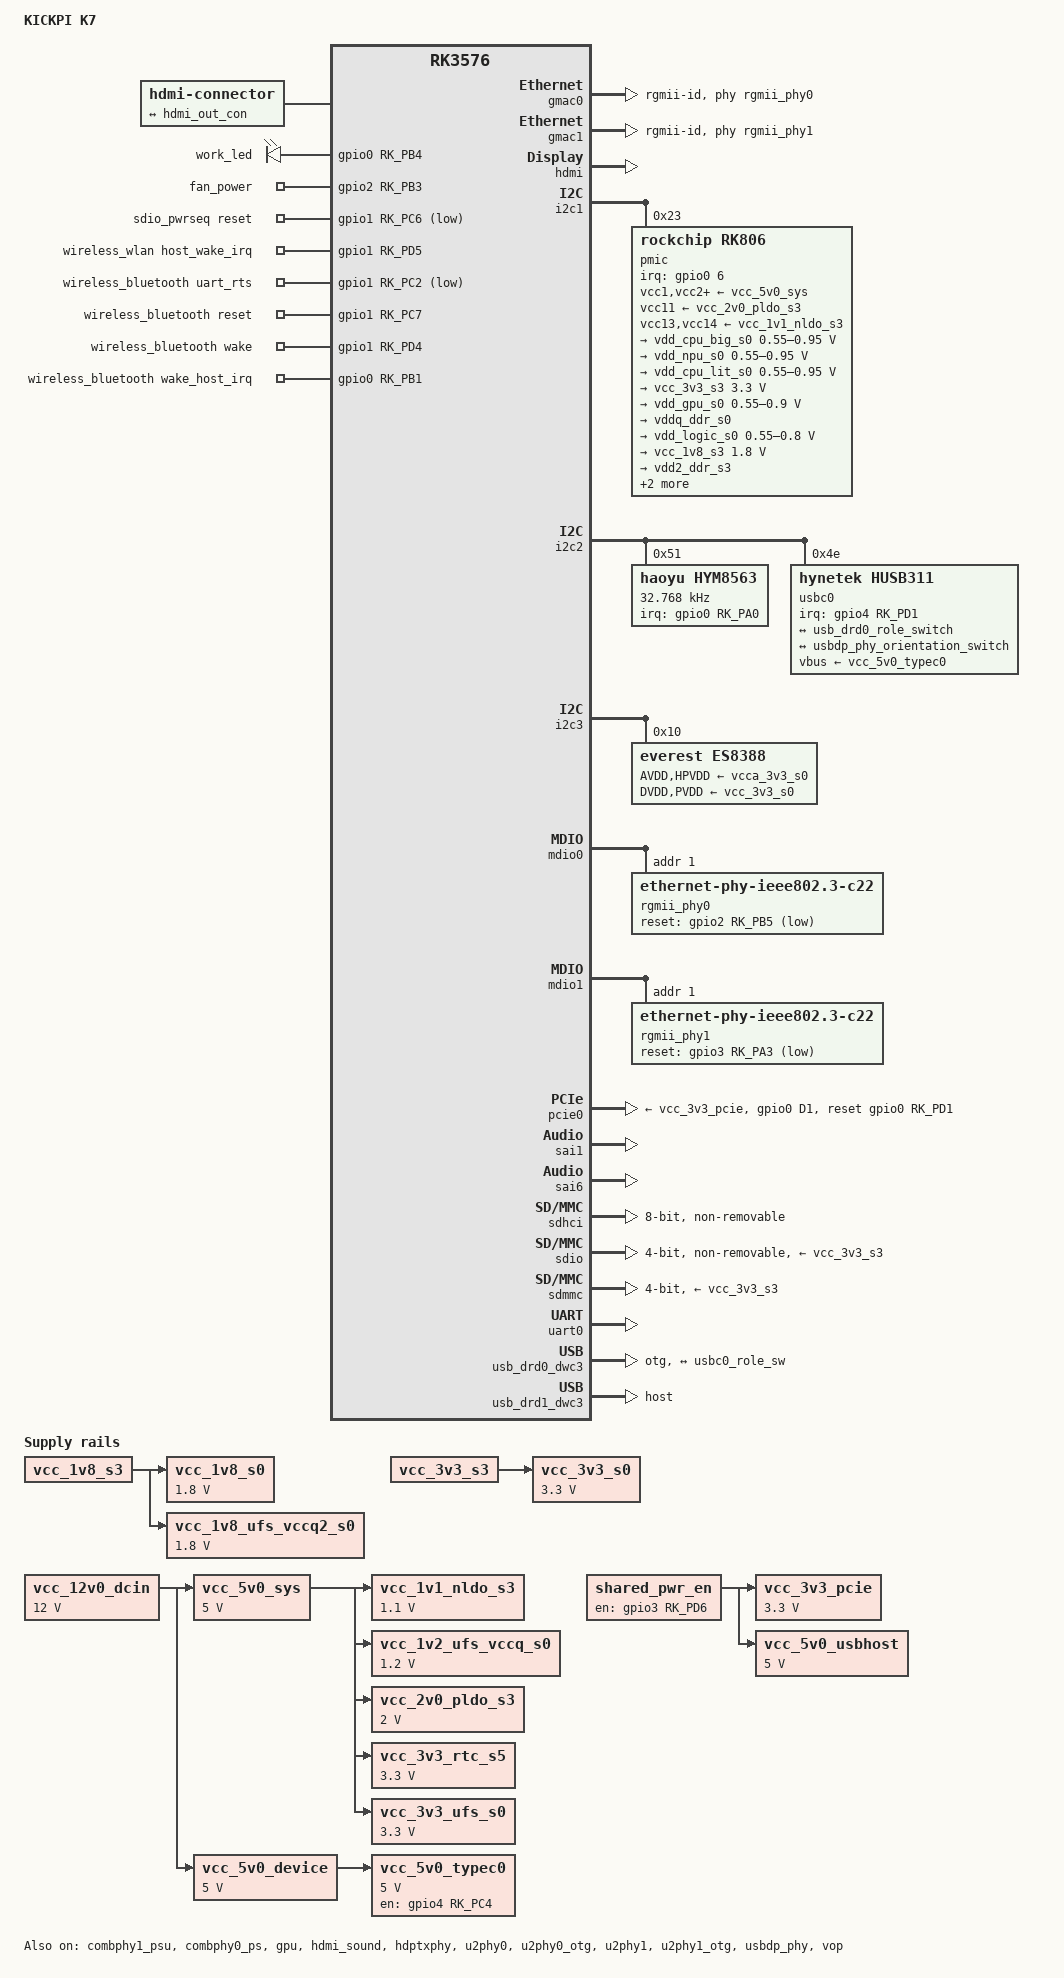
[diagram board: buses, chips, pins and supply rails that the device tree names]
// SPDX-License-Identifier: (GPL-2.0+ OR MIT)
/*
 * Copyright (c) 2024 Rockchip Electronics Co., Ltd.
 *
 */

/dts-v1/;

#include <dt-bindings/gpio/gpio.h>
#include <dt-bindings/leds/common.h>
#include <dt-bindings/pinctrl/rockchip.h>
#include <dt-bindings/pwm/pwm.h>
#include <dt-bindings/soc/rockchip,vop2.h>
#include <dt-bindings/usb/pd.h>
#include "rk3576.dtsi"

/ {
	model = "KICKPI K7";
	compatible = "kickpi,k7", "rockchip,rk3576";

	aliases {
		ethernet0 = &gmac0;
		ethernet1 = &gmac1;
	};

	chosen {
		stdout-path = "serial0:1500000n8";
	};

	hdmi-con {
		compatible = "hdmi-connector";
		type = "a";

		port {
			hdmi_con_in: endpoint {
				remote-endpoint = <&hdmi_out_con>;
			};
		};
	};

	leds: leds {
		compatible = "gpio-leds";
		work_led: work {
			gpios = <&gpio0 RK_PB4 GPIO_ACTIVE_HIGH>;
			linux,default-trigger = "heartbeat";
		};

		fan_power: fan {
			gpios = <&gpio2 RK_PB3 GPIO_ACTIVE_HIGH>;
			default-state = "on";
		};
	};

	es8388_sound: es8388-sound {
		compatible = "simple-audio-card";
		simple-audio-card,format = "i2s";
		simple-audio-card,mclk-fs = <256>;
		simple-audio-card,name = "On-board Analog ES8388";
		simple-audio-card,widgets = "Microphone", "Headphone Mic",
					    "Microphone", "Mic Pads",
					    "Headphone", "Headphone",
					    "Line Out", "Line Out";
		simple-audio-card,routing = "Headphone", "LOUT1",
					    "Headphone", "ROUT1",
					    "Line Out", "LOUT2",
					    "Line Out", "ROUT2",
					    "RINPUT1", "Headphone Mic",
					    "LINPUT2", "Mic Pads",
					    "RINPUT2", "Mic Pads";
		simple-audio-card,pin-switches = "Headphone", "Line Out";

		simple-audio-card,cpu {
			sound-dai = <&sai1>;
		};

		simple-audio-card,codec {
			sound-dai = <&es8388>;
			system-clock-frequency = <12288000>;
		};
	};

	vcc_12v0_dcin: regulator-vcc-12v0-dcin {
		compatible = "regulator-fixed";
		regulator-name = "vcc_12v0_dcin";
		regulator-always-on;
		regulator-boot-on;
		regulator-min-microvolt = <12000000>;
		regulator-max-microvolt = <12000000>;
	};

	vcc_1v1_nldo_s3: regulator-vcc-1v1-nldo-s3 {
		compatible = "regulator-fixed";
		regulator-name = "vcc_1v1_nldo_s3";
		regulator-boot-on;
		regulator-always-on;
		regulator-min-microvolt = <1100000>;
		regulator-max-microvolt = <1100000>;
		vin-supply = <&vcc_5v0_sys>;
	};

	vcc_1v2_ufs_vccq_s0: regulator-vcc-1v2-ufs-vccq-s0 {
		compatible = "regulator-fixed";
		regulator-name = "vcc_1v2_ufs_vccq_s0";
		regulator-boot-on;
		regulator-always-on;
		regulator-min-microvolt = <1200000>;
		regulator-max-microvolt = <1200000>;
		vin-supply = <&vcc_5v0_sys>;
	};

	vcc_1v8_s0: regulator-vcc-1v8-s0 {
		compatible = "regulator-fixed";
		regulator-name = "vcc_1v8_s0";
		regulator-boot-on;
		regulator-always-on;
		regulator-min-microvolt = <1800000>;
		regulator-max-microvolt = <1800000>;
		vin-supply = <&vcc_1v8_s3>;
	};

	vcc_1v8_ufs_vccq2_s0: regulator-vcc-1v8-ufs-vccq2-s0 {
		compatible = "regulator-fixed";
		regulator-name = "vcc_1v8_ufs_vccq2_s0";
		regulator-boot-on;
		regulator-always-on;
		regulator-min-microvolt = <1800000>;
		regulator-max-microvolt = <1800000>;
		vin-supply = <&vcc_1v8_s3>;
	};

	vcc_2v0_pldo_s3: regulator-vcc-2v0-pldo-s3 {
		compatible = "regulator-fixed";
		regulator-name = "vcc_2v0_pldo_s3";
		regulator-boot-on;
		regulator-always-on;
		regulator-min-microvolt = <2000000>;
		regulator-max-microvolt = <2000000>;
		vin-supply = <&vcc_5v0_sys>;
	};

	vcc_3v3_pcie: regulator-vcc-3v3-pcie {
		compatible = "regulator-fixed";
		regulator-name = "vcc_3v3_pcie";
		regulator-min-microvolt = <3300000>;
		regulator-max-microvolt = <3300000>;
		regulator-always-on;
		regulator-boot-on;
		startup-delay-us = <10000>;
		vin-supply = <&shared_pwr_en>;
	};

	vcc_3v3_rtc_s5: regulator-vcc-3v3-rtc-s5 {
		compatible = "regulator-fixed";
		regulator-name = "vcc_3v3_rtc_s5";
		regulator-boot-on;
		regulator-always-on;
		regulator-min-microvolt = <3300000>;
		regulator-max-microvolt = <3300000>;
		vin-supply = <&vcc_5v0_sys>;
	};

	vcc_3v3_s0: regulator-vcc-3v3-s0 {
		compatible = "regulator-fixed";
		regulator-name = "vcc_3v3_s0";
		regulator-boot-on;
		regulator-always-on;
		regulator-min-microvolt = <3300000>;
		regulator-max-microvolt = <3300000>;
		vin-supply = <&vcc_3v3_s3>;
	};

	vcc_5v0_sys: regulator-vcc-5v0-sys {
		compatible = "regulator-fixed";
		regulator-name = "vcc_5v0_sys";
		regulator-always-on;
		regulator-boot-on;
		regulator-min-microvolt = <5000000>;
		regulator-max-microvolt = <5000000>;
		vin-supply = <&vcc_12v0_dcin>;
	};

	vcc_5v0_device: regulator-vcc-5v0-device {
		compatible = "regulator-fixed";
		regulator-name = "vcc_5v0_device";
		regulator-always-on;
		regulator-boot-on;
		regulator-min-microvolt = <5000000>;
		regulator-max-microvolt = <5000000>;
		vin-supply = <&vcc_12v0_dcin>;
	};

	vcc_5v0_typec0: regulator-vcc-5v0-typec0 {
		compatible = "regulator-fixed";
		enable-active-high;
		gpios = <&gpio4 RK_PC4 GPIO_ACTIVE_HIGH>;
		pinctrl-names = "default";
		pinctrl-0 = <&usb_type_pwren>;
		regulator-name = "vcc_5v0_typec0";
		regulator-min-microvolt = <5000000>;
		regulator-max-microvolt = <5000000>;
		vin-supply = <&vcc_5v0_device>;
	};

	vcc_5v0_usbhost: regulator-vcc-5v0-usbhost {
		compatible = "regulator-fixed";
		regulator-name = "vcc_5v0_usbhost";
		regulator-min-microvolt = <5000000>;
		regulator-max-microvolt = <5000000>;
		regulator-always-on;
		regulator-boot-on;
		vin-supply = <&shared_pwr_en>;
	};
	
	shared_pwr_en: regulator-shared-pwr-en {
		compatible = "regulator-fixed";
		regulator-name = "shared_pwr_en";
		pinctrl-names = "default";
		pinctrl-0 = <&usb_host_pwren>;
		enable-active-high;
		gpios = <&gpio3 RK_PD6 GPIO_ACTIVE_HIGH>;
		regulator-always-on;
		regulator-boot-on;
	};

	vcc_3v3_ufs_s0: regulator-vcc-ufs-s0 {
		compatible = "regulator-fixed";
		regulator-name = "vcc_3v3_ufs_s0";
		regulator-boot-on;
		regulator-always-on;
		regulator-min-microvolt = <3300000>;
		regulator-max-microvolt = <3300000>;
		vin-supply = <&vcc_5v0_sys>;
	};

	sdio_pwrseq: sdio-pwrseq {
		compatible = "mmc-pwrseq-simple";
		clocks = <&hym8563>;
		clock-names = "ext_clock";
		pinctrl-names = "default";
		pinctrl-0 = <&wifi_poweren_gpio>;
		reset-gpios = <&gpio1 RK_PC6 GPIO_ACTIVE_LOW>;
	};

	wireless_wlan: wireless-wlan {
		compatible = "wlan-platdata";
		wifi_chip_type = "swt6621";
        clocks = <&hym8563>;
		clock-names = "ext_clock";
		pinctrl-names = "default";
		pinctrl-0 = <&wifi_host_wake_irq>;
		WIFI,host_wake_irq = <&gpio1 RK_PD5 GPIO_ACTIVE_HIGH>;
		status = "okay";
	};

	wireless_bluetooth: wireless-bluetooth {
		compatible = "bluetooth-platdata";
		uart_rts_gpios = <&gpio1 RK_PC2 GPIO_ACTIVE_LOW>;
		pinctrl-names = "default", "rts_gpio";
		pinctrl-0 = <&uart4m1_rtsn>;
		pinctrl-1 = <&uart4_gpios>;
		BT,reset_gpio    = <&gpio1 RK_PC7 GPIO_ACTIVE_HIGH>;
		BT,wake_gpio     = <&gpio1 RK_PD4 GPIO_ACTIVE_HIGH>;
		BT,wake_host_irq = <&gpio0 RK_PB1 GPIO_ACTIVE_HIGH>;
		status = "okay";
	};
};

&combphy1_psu {
	status = "okay";
};

&combphy0_ps {
	status = "okay";
};

&cpu_b0 {
	cpu-supply = <&vdd_cpu_big_s0>;
};

&cpu_b1 {
	cpu-supply = <&vdd_cpu_big_s0>;
};

&cpu_b2 {
	cpu-supply = <&vdd_cpu_big_s0>;
};

&cpu_b3 {
	cpu-supply = <&vdd_cpu_big_s0>;
};

&cpu_l0 {
	cpu-supply = <&vdd_cpu_lit_s0>;
};

&cpu_l1 {
	cpu-supply = <&vdd_cpu_lit_s0>;
};

&cpu_l2 {
	cpu-supply = <&vdd_cpu_lit_s0>;
};

&cpu_l3 {
	cpu-supply = <&vdd_cpu_lit_s0>;
};

&gmac0 {
	phy-mode = "rgmii-id";
	clock_in_out = "output";
	phy-handle = <&rgmii_phy0>;
	pinctrl-names = "default";
	pinctrl-0 = <&eth0m0_miim
		     &eth0m0_tx_bus2
		     &eth0m0_rx_bus2
		     &eth0m0_rgmii_clk
		     &eth0m0_rgmii_bus>;
	status = "okay";
};

&gmac1 {
	phy-mode = "rgmii-id";
	clock_in_out = "output";
	phy-handle = <&rgmii_phy1>;
	pinctrl-names = "default";
	pinctrl-0 = <&eth1m0_miim
		     &eth1m0_tx_bus2
		     &eth1m0_rx_bus2
		     &eth1m0_rgmii_clk
		     &eth1m0_rgmii_bus
		     &ethm0_clk1_25m_out>;
	status = "okay";
};

&gpu {
	mali-supply = <&vdd_gpu_s0>;
	status = "okay";
};

&hdmi {
	status = "okay";
};

&hdmi_in {
	hdmi_in_vp0: endpoint {
		remote-endpoint = <&vp0_out_hdmi>;
	};
};

&hdmi_out {
	hdmi_out_con: endpoint {
		remote-endpoint = <&hdmi_con_in>;
	};
};

&hdmi_sound {
	status = "okay";
};

&hdptxphy {
	status = "okay";
};

&i2c1 {
	status = "okay";

	pmic@23 {
		compatible = "rockchip,rk806";
		reg = <0x23>;

		interrupt-parent = <&gpio0>;
		interrupts = <6 IRQ_TYPE_LEVEL_LOW>;

		pinctrl-names = "default";
		pinctrl-0 = <&pmic_pins>, <&rk806_dvs1_null>,
			    <&rk806_dvs2_null>, <&rk806_dvs3_null>;

		system-power-controller;

		vcc1-supply = <&vcc_5v0_sys>;
		vcc2-supply = <&vcc_5v0_sys>;
		vcc3-supply = <&vcc_5v0_sys>;
		vcc4-supply = <&vcc_5v0_sys>;
		vcc5-supply = <&vcc_5v0_sys>;
		vcc6-supply = <&vcc_5v0_sys>;
		vcc7-supply = <&vcc_5v0_sys>;
		vcc8-supply = <&vcc_5v0_sys>;
		vcc9-supply = <&vcc_5v0_sys>;
		vcc10-supply = <&vcc_5v0_sys>;
		vcc11-supply = <&vcc_2v0_pldo_s3>;
		vcc12-supply = <&vcc_5v0_sys>;
		vcc13-supply = <&vcc_1v1_nldo_s3>;
		vcc14-supply = <&vcc_1v1_nldo_s3>;
		vcca-supply = <&vcc_5v0_sys>;

		gpio-controller;
		#gpio-cells = <2>;

		rk806_dvs1_null: dvs1-null-pins {
			pins = "gpio_pwrctrl1";
			function = "pin_fun0";
		};

		rk806_dvs2_null: dvs2-null-pins {
			pins = "gpio_pwrctrl2";
			function = "pin_fun0";
		};

		rk806_dvs3_null: dvs3-null-pins {
			pins = "gpio_pwrctrl3";
			function = "pin_fun0";
		};

		rk806_dvs1_slp: dvs1-slp-pins {
			pins = "gpio_pwrctrl1";
			function = "pin_fun1";
		};

		rk806_dvs1_pwrdn: dvs1-pwrdn-pins {
			pins = "gpio_pwrctrl1";
			function = "pin_fun2";
		};

		rk806_dvs1_rst: dvs1-rst-pins {
			pins = "gpio_pwrctrl1";
			function = "pin_fun3";
		};

		rk806_dvs2_slp: dvs2-slp-pins {
			pins = "gpio_pwrctrl2";
			function = "pin_fun1";
		};

		rk806_dvs2_pwrdn: dvs2-pwrdn-pins {
			pins = "gpio_pwrctrl2";
			function = "pin_fun2";
		};

		rk806_dvs2_rst: dvs2-rst-pins {
			pins = "gpio_pwrctrl2";
			function = "pin_fun3";
		};

		rk806_dvs2_dvs: dvs2-dvs-pins {
			pins = "gpio_pwrctrl2";
			function = "pin_fun4";
		};

		rk806_dvs2_gpio: dvs2-gpio-pins {
			pins = "gpio_pwrctrl2";
			function = "pin_fun5";
		};

		rk806_dvs3_slp: dvs3-slp-pins {
			pins = "gpio_pwrctrl3";
			function = "pin_fun1";
		};

		rk806_dvs3_pwrdn: dvs3-pwrdn-pins {
			pins = "gpio_pwrctrl3";
			function = "pin_fun2";
		};

		rk806_dvs3_rst: dvs3-rst-pins {
			pins = "gpio_pwrctrl3";
			function = "pin_fun3";
		};

		rk806_dvs3_dvs: dvs3-dvs-pins {
			pins = "gpio_pwrctrl3";
			function = "pin_fun4";
		};

		rk806_dvs3_gpio: dvs3-gpio-pins {
			pins = "gpio_pwrctrl3";
			function = "pin_fun5";
		};

		regulators {
			vdd_cpu_big_s0: dcdc-reg1 {
				regulator-always-on;
				regulator-boot-on;
				regulator-min-microvolt = <550000>;
				regulator-max-microvolt = <950000>;
				regulator-ramp-delay = <12500>;
				regulator-name = "vdd_cpu_big_s0";
				regulator-enable-ramp-delay = <400>;
				regulator-state-mem {
					regulator-off-in-suspend;
				};
			};

			vdd_npu_s0: dcdc-reg2 {
				regulator-boot-on;
				regulator-min-microvolt = <550000>;
				regulator-max-microvolt = <950000>;
				regulator-ramp-delay = <12500>;
				regulator-name = "vdd_npu_s0";
				regulator-enable-ramp-delay = <400>;
				regulator-state-mem {
					regulator-off-in-suspend;
				};
			};

			vdd_cpu_lit_s0: dcdc-reg3 {
				regulator-always-on;
				regulator-boot-on;
				regulator-min-microvolt = <550000>;
				regulator-max-microvolt = <950000>;
				regulator-ramp-delay = <12500>;
				regulator-name = "vdd_cpu_lit_s0";
				regulator-state-mem {
					regulator-off-in-suspend;
					regulator-suspend-microvolt = <750000>;
				};
			};

			vcc_3v3_s3: dcdc-reg4 {
				regulator-always-on;
				regulator-boot-on;
				regulator-min-microvolt = <3300000>;
				regulator-max-microvolt = <3300000>;
				regulator-name = "vcc_3v3_s3";
				regulator-state-mem {
					regulator-on-in-suspend;
					regulator-suspend-microvolt = <3300000>;
				};
			};

			vdd_gpu_s0: dcdc-reg5 {
				regulator-boot-on;
				regulator-min-microvolt = <550000>;
				regulator-max-microvolt = <900000>;
				regulator-ramp-delay = <12500>;
				regulator-name = "vdd_gpu_s0";
				regulator-enable-ramp-delay = <400>;
				regulator-state-mem {
					regulator-off-in-suspend;
					regulator-suspend-microvolt = <850000>;
				};
			};

			vddq_ddr_s0: dcdc-reg6 {
				regulator-always-on;
				regulator-boot-on;
				regulator-name = "vddq_ddr_s0";
				regulator-state-mem {
					regulator-off-in-suspend;
				};
			};

			vdd_logic_s0: dcdc-reg7 {
				regulator-always-on;
				regulator-boot-on;
				regulator-min-microvolt = <550000>;
				regulator-max-microvolt = <800000>;
				regulator-name = "vdd_logic_s0";
				regulator-state-mem {
					regulator-off-in-suspend;
				};
			};

			vcc_1v8_s3: dcdc-reg8 {
				regulator-always-on;
				regulator-boot-on;
				regulator-min-microvolt = <1800000>;
				regulator-max-microvolt = <1800000>;
				regulator-name = "vcc_1v8_s3";
				regulator-state-mem {
					regulator-on-in-suspend;
					regulator-suspend-microvolt = <1800000>;
				};
			};

			vdd2_ddr_s3: dcdc-reg9 {
				regulator-always-on;
				regulator-boot-on;
				regulator-name = "vdd2_ddr_s3";
				regulator-state-mem {
					regulator-on-in-suspend;
				};
			};

			vdd_ddr_s0: dcdc-reg10 {
				regulator-always-on;
				regulator-boot-on;
				regulator-min-microvolt = <550000>;
				regulator-max-microvolt = <1200000>;
				regulator-name = "vdd_ddr_s0";
				regulator-state-mem {
					regulator-off-in-suspend;
				};
			};

			vcca_1v8_s0: pldo-reg1 {
				regulator-always-on;
				regulator-boot-on;
				regulator-min-microvolt = <1800000>;
				regulator-max-microvolt = <1800000>;
				regulator-name = "vcca_1v8_s0";
				regulator-state-mem {
					regulator-off-in-suspend;
				};
			};

			vcca1v8_pldo2_s0: pldo-reg2 {
				regulator-always-on;
				regulator-boot-on;
				regulator-min-microvolt = <1800000>;
				regulator-max-microvolt = <1800000>;
				regulator-name = "vcca1v8_pldo2_s0";
				regulator-state-mem {
					regulator-off-in-suspend;
				};
			};

			vdda_1v2_s0: pldo-reg3 {
				regulator-always-on;
				regulator-boot-on;
				regulator-min-microvolt = <1200000>;
				regulator-max-microvolt = <1200000>;
				regulator-name = "vdda_1v2_s0";
				regulator-state-mem {
					regulator-off-in-suspend;
				};
			};

			vcca_3v3_s0: pldo-reg4 {
				regulator-always-on;
				regulator-boot-on;
				regulator-min-microvolt = <3300000>;
				regulator-max-microvolt = <3300000>;
				regulator-name = "vcca_3v3_s0";
				regulator-state-mem {
					regulator-off-in-suspend;
				};
			};

			vccio_sd_s0: pldo-reg5 {
				regulator-always-on;
				regulator-boot-on;
				regulator-min-microvolt = <1800000>;
				regulator-max-microvolt = <3300000>;
				regulator-name = "vccio_sd_s0";
				regulator-state-mem {
					regulator-off-in-suspend;
				};
			};

			vcca1v8_pldo6_s3: pldo-reg6 {
				regulator-always-on;
				regulator-boot-on;
				regulator-min-microvolt = <1800000>;
				regulator-max-microvolt = <1800000>;
				regulator-name = "vcca1v8_pldo6_s3";
				regulator-state-mem {
					regulator-on-in-suspend;
					regulator-suspend-microvolt = <1800000>;
				};
			};

			vdd_0v75_s3: nldo-reg1 {
				regulator-always-on;
				regulator-boot-on;
				regulator-min-microvolt = <750000>;
				regulator-max-microvolt = <750000>;
				regulator-name = "vdd_0v75_s3";
				regulator-state-mem {
					regulator-on-in-suspend;
					regulator-suspend-microvolt = <750000>;
				};
			};

			vdda_ddr_pll_s0: nldo-reg2 {
				regulator-always-on;
				regulator-boot-on;
				regulator-min-microvolt = <850000>;
				regulator-max-microvolt = <850000>;
				regulator-name = "vdda_ddr_pll_s0";
				regulator-state-mem {
					regulator-off-in-suspend;
				};
			};

			vdda0v75_hdmi_s0: nldo-reg3 {
				regulator-always-on;
				regulator-boot-on;
				regulator-min-microvolt = <837500>;
				regulator-max-microvolt = <837500>;
				regulator-name = "vdda0v75_hdmi_s0";
				regulator-state-mem {
					regulator-off-in-suspend;
				};
			};

			vdda_0v85_s0: nldo-reg4 {
				regulator-always-on;
				regulator-boot-on;
				regulator-min-microvolt = <850000>;
				regulator-max-microvolt = <850000>;
				regulator-name = "vdda_0v85_s0";
				regulator-state-mem {
					regulator-off-in-suspend;
				};
			};

			vdda_0v75_s0: nldo-reg5 {
				regulator-always-on;
				regulator-boot-on;
				regulator-min-microvolt = <750000>;
				regulator-max-microvolt = <750000>;
				regulator-name = "vdda_0v75_s0";
				regulator-state-mem {
					regulator-off-in-suspend;
				};
			};
		};
	};
};

&i2c2 {
	status = "okay";

	hym8563: hym8563@51 {
		compatible = "haoyu,hym8563";
		reg = <0x51>;
		#clock-cells = <0>;
		clock-frequency = <32768>;
		clock-output-names = "hym8563";
		pinctrl-names = "default";
		pinctrl-0 = <&hym8563_int>;
		interrupt-parent = <&gpio0>;
		interrupts = <RK_PA0 IRQ_TYPE_LEVEL_LOW>;
		wakeup-source;
	};

    usbc0: husb311@4e {
		compatible = "hynetek,husb311";
		reg = <0x4e>;
		interrupt-parent = <&gpio4>;
		interrupts = <RK_PD1 IRQ_TYPE_LEVEL_LOW>;
		pinctrl-names = "default";
		pinctrl-0 = <&usbc0_int>;
		vbus-supply = <&vcc_5v0_typec0>;
		disable-dp-alt-mode;
		status = "okay";

		port {
			usbc0_role_sw: endpoint {
				remote-endpoint = <&usb_drd0_role_switch>;
			};
		};

		usb_con: connector {
			compatible = "usb-c-connector";
			label = "USB-C";
			data-role = "dual";
			power-role = "dual";
			op-sink-microwatt = <1000000>;
			sink-pdos =
				<PDO_FIXED(5000, 1000, PDO_FIXED_USB_COMM)>;
			source-pdos =
				<PDO_FIXED(5000, 3000, PDO_FIXED_USB_COMM)>;

			ports {
				#address-cells = <1>;
				#size-cells = <0>;

				port@0 {
					reg = <0>;
					usbc0_orien_sw: endpoint {
						remote-endpoint = <&usbdp_phy_orientation_switch>;
					};
				};
			};
		};
	};
};

&i2c3 {
	status = "okay";

	es8388: audio-codec@10 {
		compatible = "everest,es8388", "everest,es8328";
		reg = <0x10>;
		clocks = <&cru CLK_SAI1_MCLKOUT_TO_IO>;
		AVDD-supply = <&vcca_3v3_s0>;
		DVDD-supply = <&vcc_3v3_s0>;
		HPVDD-supply = <&vcca_3v3_s0>;
		PVDD-supply = <&vcc_3v3_s0>;
		assigned-clocks = <&cru CLK_SAI1_MCLKOUT_TO_IO>;
		assigned-clock-rates = <12288000>;
		#sound-dai-cells = <0>;
		pinctrl-names = "default";
		pinctrl-0 = <&sai1m0_mclk>;
	};
};

&mdio0 {
	rgmii_phy0: phy@1 {
		compatible = "ethernet-phy-ieee802.3-c22";
		reg = <0x1>;
		clocks = <&cru REFCLKO25M_GMAC0_OUT>;
		pinctrl-names = "default";
		pinctrl-0 = <&gmac0_rst>;
		reset-assert-us = <20000>;
		reset-deassert-us = <100000>;
		reset-gpios = <&gpio2 RK_PB5 GPIO_ACTIVE_LOW>;
	};
};

&mdio1 {
	rgmii_phy1: phy@1 {
		compatible = "ethernet-phy-ieee802.3-c22";
		reg = <0x1>;
		clocks = <&cru REFCLKO25M_GMAC1_OUT>;
		pinctrl-names = "default";
		pinctrl-0 = <&gmac1_rst>;
		reset-assert-us = <20000>;
		reset-deassert-us = <100000>;
		reset-gpios = <&gpio3 RK_PA3 GPIO_ACTIVE_LOW>;
	};
};

&pcie0 {
	pinctrl-names = "default";
	pinctrl-0 = <&pcie_reset>;
	reset-gpios = <&gpio0 RK_PD1 GPIO_ACTIVE_HIGH>;
	vpcie3v3-supply = <&vcc_3v3_pcie>;
	status = "okay";
};

&pinctrl {
	gmac {
		gmac0_rst: gmac0-rst {
			rockchip,pins = <2 RK_PB5 RK_FUNC_GPIO &pcfg_pull_none>;
		};
		gmac1_rst: gmac1-rst {
			rockchip,pins = <3 RK_PA3 RK_FUNC_GPIO &pcfg_pull_none>;
		};
	};

	headphone {
		hp_det: hp-det {
			rockchip,pins = <0 RK_PD3 RK_FUNC_GPIO &pcfg_pull_up>;
		};
	};

	hym8563 {
		hym8563_int: hym8563-int {
			rockchip,pins = <0 RK_PA0 RK_FUNC_GPIO &pcfg_pull_up>;
		};
	};

	pcie {
		pcie_reset: pcie-reset {
			rockchip,pins = <0 RK_PD1 RK_FUNC_GPIO &pcfg_pull_up>;
		};
	};

	usb {
		usb_host_pwren: usb-host-pwren {
			rockchip,pins = <3 RK_PD6 RK_FUNC_GPIO &pcfg_pull_none>;
		};

		usb_type_pwren: usb-type-pwren {
			rockchip,pins = <4 RK_PC4 RK_FUNC_GPIO &pcfg_pull_none>;
		};

		usbc0_int: usbc0-int {
			rockchip,pins = <4 RK_PD1 RK_FUNC_GPIO &pcfg_pull_up>;
		};
	};

	wireless-wlan {
		wifi_host_wake_irq: wifi-host-wake-irq {
			rockchip,pins = <0 RK_PB0 RK_FUNC_GPIO &pcfg_pull_down>;
		};

		wifi_poweren_gpio: wifi-poweren-gpio {
			rockchip,pins = <1 RK_PC6 RK_FUNC_GPIO &pcfg_pull_none>;
		};
	};
	
	wireless-bluetooth {
		uart4_gpios: uart4-gpios {
			rockchip,pins = <1 RK_PC2 RK_FUNC_GPIO &pcfg_pull_none>;
		};
	};
};

&sai1 {
	pinctrl-names = "default";
	pinctrl-0 = <&sai1m0_lrck
		     &sai1m0_sclk
		     &sai1m0_sdi0
		     &sai1m0_sdo0>;
	status = "okay";
};

&sai6 {
	status = "okay";
};

&sdhci {
	bus-width = <8>;
	full-pwr-cycle-in-suspend;
	max-frequency = <200000000>;
	mmc-hs400-1_8v;
	mmc-hs400-enhanced-strobe;
	no-sdio;
	no-sd;
	non-removable;
	status = "okay";
};

&sdio {
	bus-width = <4>;
	cap-sdio-irq;
	disable-wp;
	keep-power-in-suspend;
	mmc-pwrseq = <&sdio_pwrseq>;
	no-sd;
	no-mmc;
	non-removable;
	sd-uhs-sdr50;
	sd-uhs-sdr104;
	vmmc-supply = <&vcc_3v3_s3>;
	vqmmc-supply = <&vcc_1v8_s3>;
	wakeup-source;
	status = "okay";
};

&sdmmc {
	bus-width = <4>;
	cap-mmc-highspeed;
	cap-sd-highspeed;
	disable-wp;
	max-frequency = <200000000>;
	no-sdio;
	no-mmc;
	sd-uhs-sdr104;
	vmmc-supply = <&vcc_3v3_s3>;
	vqmmc-supply = <&vccio_sd_s0>;
	status = "okay";
};

&u2phy0 {
	status = "okay";
};

&u2phy0_otg {
	status = "okay";
};

&u2phy1 {
	status = "okay";
};

&u2phy1_otg {
	phy-supply = <&vcc_5v0_usbhost>;
	status = "okay";
};

&uart0 {
	pinctrl-0 = <&uart0m0_xfer>;
	status = "okay";
};

&uart4 {
	pinctrl-0 = <&uart4m1_xfer &uart4m1_ctsn &uart4m1_rtsn>;
	pinctrl-names = "default";
	uart-has-rtscts;
};

&usb_drd0_dwc3 {
	dr_mode = "otg";
	maximum-speed = "super-speed";
	usb-role-switch;
	extcon = <&usbc0>;
	snps,dis_u2_susphy_quirk;
	snps,dis_enblslpm_quirk;
	status = "okay";
	
	port {
		#address-cells = <1>;
		#size-cells = <0>;
		usb_drd0_role_switch: endpoint@0 {
			reg = <0>;
			remote-endpoint = <&usbc0_role_sw>;
		};
	};
};

&usb_drd1_dwc3 {
	dr_mode = "host";
	maximum-speed = "super-speed";
	snps,dis_u2_susphy_quirk;
	snps,dis_enblslpm_quirk;
	status = "okay";
};

&usbdp_phy {
	orientation-switch;
	force-usb-mode;
	status = "okay";
	port {
		#address-cells = <1>;
		#size-cells = <0>;
		usbdp_phy_orientation_switch: endpoint@0 {
			reg = <0>;
			remote-endpoint = <&usbc0_orien_sw>;
		};
	};
};

&vop {
	status = "okay";
};

&vop_mmu {
	status = "okay";
};

&vp0 {
	vp0_out_hdmi: endpoint@ROCKCHIP_VOP2_EP_HDMI0 {
		reg = <ROCKCHIP_VOP2_EP_HDMI0>;
		remote-endpoint = <&hdmi_in_vp0>;
	};
};
